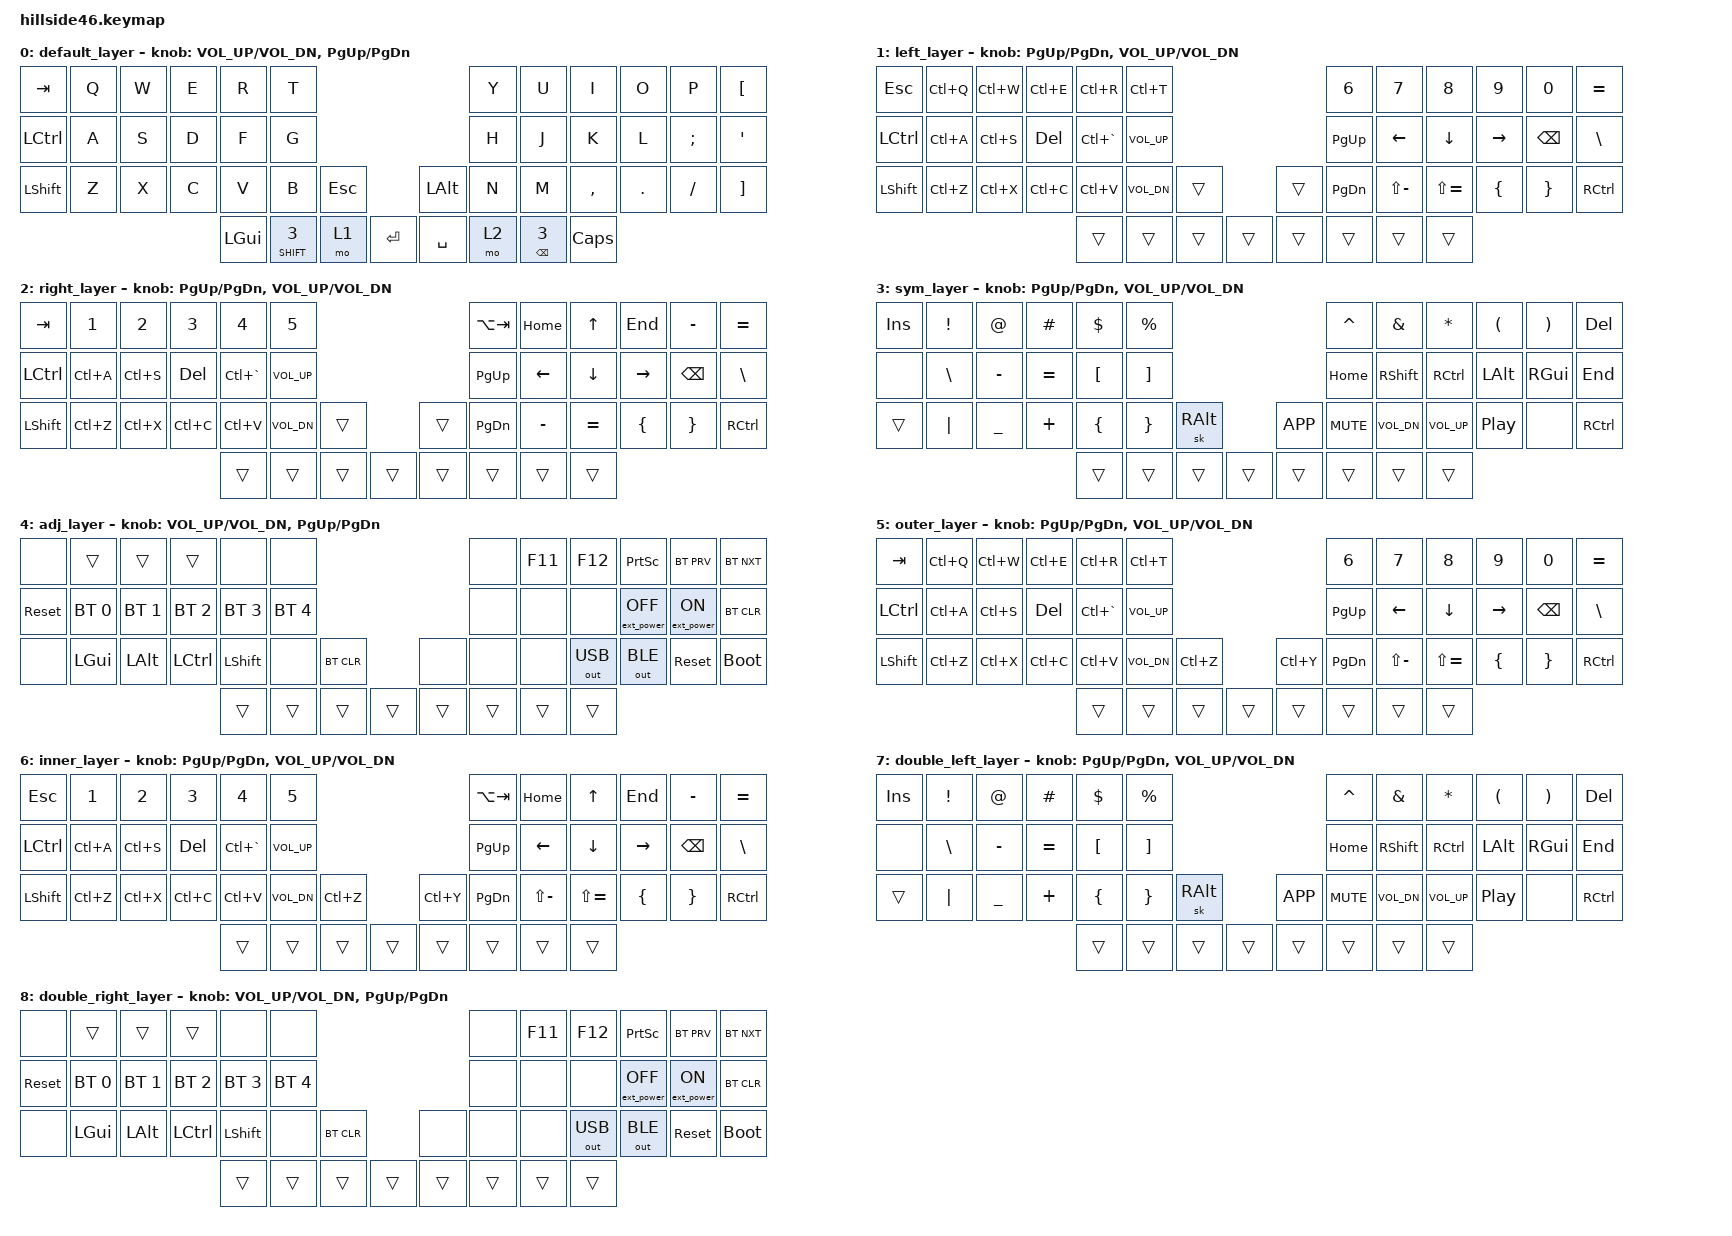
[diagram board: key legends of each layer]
/*
 * Copyright (c) 2021-2022 The ZMK Contributors
 *
 * SPDX-License-Identifier: MIT
 */

#include <behaviors.dtsi>
#include <dt-bindings/zmk/keys.h>
#include <dt-bindings/zmk/bt.h>
#include <dt-bindings/zmk/mouse.h>
#include <dt-bindings/zmk/ext_power.h>
#include <dt-bindings/zmk/outputs.h>



#define Undo   LC(Z)
#define Cut    LC(X)
#define Copy   LC(C)
#define Paste  LC(V)
#define Redo   LC(Y)

&mmv {
    time-to-max-speed-ms = <850>;
    acceleration-exponent=<1>;
};

&mwh {
    time-to-max-speed-ms = <1500>;
    acceleration-exponent=<1>;
};

&mt {
    tapping-term-ms = <200>;
};

/{
    macros {
        strong: strong {
            compatible = "zmk,behavior-macro";
            label = "new_macro";
            #binding-cells = <0>;
            bindings = <
&kp N1 &kp E &kp Q &kp U &kp A &kp L &kp S 
&kp N0 
&kp P &kp O &kp I &kp N &kp T 
&kp N9 
&kp R &kp E &kp P &kp E &kp A &kp T &kp I &kp N &kp G
&kp P &kp A &kp S &kp S &kp W &kp O &kp R &kp D
            >;
        };
    };

    conditional_layers {
        compatible = "zmk,conditional-layers";
        // Combine left and right thumb buttons (INNER)
        // to map to layer 5
        tri_layer_outer {
            if-layers = <1 2>;
            then-layer = <5>;
        };
        // Combine left and right thumb buttons (OUTER)
        // to map to layer number 6
        tri_layer_inner {
                if-layers = <3 4>;
                then-layer = <6>;
        };
        // Combine double thumb buttons (LEFT) 
        // to map to layer number 7
        tri_layer_left {
            if-layers = <3 1>;
            then-layer = <7>;
        };
        // Combine double thumb buttons (RIGHT)
        // to map to layer number 8
        tri_layer_right {
            if-layers = <2 4>;
            then-layer = <8>;
        };
    };

        keymap {
                compatible = "zmk,keymap";
                default_layer {
                        bindings = <
&kp  TAB      &kp  Q        &kp  W        &kp  E        &kp  R        &kp  T                                                         &kp Y     &kp U     &kp I        &kp O      &kp P        &kp LBKT
&kp  LCTRL    &kp  A        &kp  S        &kp  D        &kp  F        &kp  G                                                         &kp H     &kp J     &kp K        &kp L      &kp SEMI     &kp SQT
&kp  LSHFT    &kp  Z        &kp  X        &kp  C        &kp  V        &kp  B           &kp  ESC                           &kp LALT   &kp N     &kp M     &kp COMMA    &kp DOT    &kp FSLH     &kp RBKT
                                                        &kp  LGUI     &ht_hp SHIFT 3   &mo 1       &kp  RET    &kp SPACE  &mo 2      &ht BSPC 3     &kp CAPS
                        >;
                        sensor-bindings = <&inc_dec_kp C_VOL_UP C_VOL_DN &inc_dec_kp PG_UP PG_DN>;
                };

                left_layer {
                        bindings = <
&kp  ESC     &kp  LC(Q)  &kp LC(W)     &kp LC(E)    &kp LC(R)     &kp LC(T)                                                        &kp   N6      &kp   N7        &kp   N8        &kp   N9        &kp   N0    &kp EQUAL
&kp  LCTRL   &kp  LC(A)  &kp LC(S)     &kp DEL      &kp LC(GRAVE) &kp C_VOL_UP                                                     &kp   PG_UP   &kp  LEFT       &kp   DOWN      &kp   RIGHT     &kp BSPC    &kp BSLH
&kp  LSHIFT  &kp  LC(Z)  &kp LC(X)     &kp LC(C)    &kp LC(V)     &kp C_VOL_DN  &trans                               &trans        &kp  PG_DN    &kp  LS(MINUS)  &kp   LS(EQUAL) &kp  LBRC       &kp RBRC    &kp RCTRL
                                                    &trans        &trans        &trans        &trans      &trans     &trans        &trans        &trans 
                        >;
                        sensor-bindings = <&inc_dec_kp PG_UP PG_DN &inc_dec_kp C_VOL_UP C_VOL_DN>;
                };

                right_layer {
                        bindings = <
&kp  TAB     &kp N1    &kp   N2      &kp   N3     &kp   N4      &kp   N5                                                               &kp  LA(TAB) &kp  HOME       &kp   UP        &kp  END       &kp MINUS   &kp EQUAL
&kp  LCTRL   &kp LC(A) &kp LC(S)     &kp DEL      &kp LC(GRAVE) &kp C_VOL_UP                                                           &kp  PG_UP   &kp  LEFT       &kp   DOWN      &kp  RIGHT     &kp BSPC    &kp BSLH
&kp  LSHIFT  &kp LC(Z) &kp LC(X)     &kp LC(C)    &kp LC(V)     &kp C_VOL_DN        &trans                               &trans        &kp  PG_DN   &kp  MINUS      &kp   EQUAL     &kp  LBRC      &kp RBRC    &kp RCTRL
                                                  &trans        &trans              &trans        &trans      &trans     &trans        &trans       &trans 
                        >;
                        sensor-bindings = <&inc_dec_kp PG_UP PG_DN &inc_dec_kp C_VOL_UP C_VOL_DN>;
                };

                sym_layer {
                        bindings = <
&kp  INS      &kp  EXCL     &kp  AT       &kp  HASH     &kp  DOLLAR   &kp  PERCENT                                                                   &kp  CARET    &kp  AMPS     &kp  ASTRK    &kp  LPAR     &kp  RPAR     &kp DEL
&none         &kp  BSLH     &kp  MINUS    &kp  EQUAL    &kp  LBKT     &kp  RBKT                                                                      &kp  HOME     &kp  RSHFT    &kp  RCTRL    &kp  LALT     &kp  RGUI     &kp END
&trans        &kp  PIPE     &kp  UNDER    &kp  PLUS     &kp  LBRC     &kp  RBRC     &sk  RALT                                          &kp K_APP     &kp  C_MUTE   &kp  C_VOL_DN &kp  C_VOL_UP &kp  C_PP     &none         &kp RCTRL
                                                        &trans        &trans        &trans       &trans                   &trans       &trans        &trans        &trans
                        >;	
                        sensor-bindings = <&inc_dec_kp PG_UP PG_DN &inc_dec_kp C_VOL_UP C_VOL_DN>;
                };

                adj_layer {
                        bindings = <
&none         &trans        &trans        &trans        &none         &none                                                                             &none             &kp   F11          &kp   F12     &kp PRINTSCREEN    &bt BT_PRV         &bt BT_NXT
&sys_reset    &bt  BT_SEL 0 &bt  BT_SEL 1 &bt  BT_SEL 2 &bt  BT_SEL 3 &bt  BT_SEL 4                                                                     &none             &none              &none         &ext_power EP_OFF  &ext_power EP_ON   &bt BT_CLR
&none         &kp  LGUI     &kp  LALT     &kp  LCTRL    &kp LSHIFT    &none         &bt BT_CLR                                         &none            &none             &none              &out  OUT_USB &out  OUT_BLE      &sys_reset         &bootloader
                                                        &trans        &trans        &trans        &trans                 &trans        &trans           &trans            &trans 
                        >;
                        sensor-bindings = <&inc_dec_kp C_VOL_UP C_VOL_DN &inc_dec_kp PG_UP PG_DN>;
                };
                outer_layer {
                        bindings = <
&kp  TAB     &kp  LC(Q)  &kp LC(W)     &kp LC(E)    &kp LC(R)     &kp LC(T)                                                        &kp   N6      &kp   N7        &kp   N8        &kp   N9        &kp   N0    &kp EQUAL
&kp  LCTRL   &kp  LC(A)  &kp LC(S)     &kp DEL      &kp LC(GRAVE) &kp C_VOL_UP                                                     &kp   PG_UP   &kp  LEFT       &kp   DOWN      &kp   RIGHT     &kp BSPC    &kp BSLH
&kp  LSHIFT  &kp  LC(Z)  &kp LC(X)     &kp LC(C)    &kp LC(V)     &kp C_VOL_DN  &kp Undo                             &kp  Redo     &kp  PG_DN    &kp  LS(MINUS)  &kp   LS(EQUAL) &kp  LBRC       &kp RBRC    &kp RCTRL
                                                    &trans        &trans        &trans        &trans      &trans     &trans        &trans        &trans 
                        >;
                        sensor-bindings = <&inc_dec_kp PG_UP PG_DN &inc_dec_kp C_VOL_UP C_VOL_DN>;
                };
                inner_layer {
                        bindings = <
&kp  ESC     &kp   N1    &kp   N2      &kp   N3     &kp   N4      &kp   N5                                                               &kp  LA(TAB) &kp  HOME       &kp   UP        &kp   END       &kp MINUS   &kp EQUAL
&kp  LCTRL   &kp  LC(A)  &kp LC(S)     &kp DEL      &kp LC(GRAVE) &kp C_VOL_UP                                                           &kp  PG_UP   &kp  LEFT       &kp   DOWN      &kp   RIGHT     &kp BSPC    &kp BSLH
&kp  LSHIFT  &kp LC(Z)   &kp LC(X)     &kp LC(C)    &kp LC(V)     &kp C_VOL_DN        &kp Undo                             &kp  Redo     &kp  PG_DN   &kp  LS(MINUS)  &kp   LS(EQUAL) &kp  LBRC       &kp RBRC    &kp RCTRL
                                                    &trans        &trans              &trans        &trans      &trans     &trans        &trans       &trans 
                        >;
                        sensor-bindings = <&inc_dec_kp PG_UP PG_DN &inc_dec_kp C_VOL_UP C_VOL_DN>;
                };
                double_left_layer {
                        bindings = <
&kp  INS      &kp  EXCL     &kp  AT       &kp  HASH     &kp  DOLLAR   &kp  PERCENT                                                                   &kp  CARET    &kp  AMPS     &kp  ASTRK    &kp  LPAR     &kp  RPAR     &kp DEL
&none         &kp  BSLH     &kp  MINUS    &kp  EQUAL    &kp  LBKT     &kp  RBKT                                                                      &kp  HOME     &kp  RSHFT    &kp  RCTRL    &kp  LALT     &kp  RGUI     &kp END
&trans        &kp  PIPE     &kp  UNDER    &kp  PLUS     &kp  LBRC     &kp  RBRC     &sk  RALT                                          &kp K_APP     &kp  C_MUTE   &kp  C_VOL_DN &kp  C_VOL_UP &kp  C_PP     &none         &kp RCTRL
                                                        &trans        &trans        &trans       &trans                   &trans       &trans        &trans        &trans
                        >;	
                        sensor-bindings = <&inc_dec_kp PG_UP PG_DN &inc_dec_kp C_VOL_UP C_VOL_DN>;
                };
                double_right_layer {
                        bindings = <
&none         &trans        &trans        &trans        &none         &none                                                                             &none             &kp   F11          &kp   F12     &kp PRINTSCREEN    &bt BT_PRV         &bt BT_NXT
&sys_reset    &bt  BT_SEL 0 &bt  BT_SEL 1 &bt  BT_SEL 2 &bt  BT_SEL 3 &bt  BT_SEL 4                                                                     &none             &none              &none         &ext_power EP_OFF  &ext_power EP_ON   &bt BT_CLR
&none         &kp  LGUI     &kp  LALT     &kp  LCTRL    &kp LSHIFT    &none         &bt BT_CLR                                         &none            &none             &none              &out  OUT_USB &out  OUT_BLE      &sys_reset         &bootloader
                                                        &trans        &trans        &trans        &trans                 &trans        &trans           &trans            &trans 
                        >;
                        sensor-bindings = <&inc_dec_kp C_VOL_UP C_VOL_DN &inc_dec_kp PG_UP PG_DN>;
                };                
        };
};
